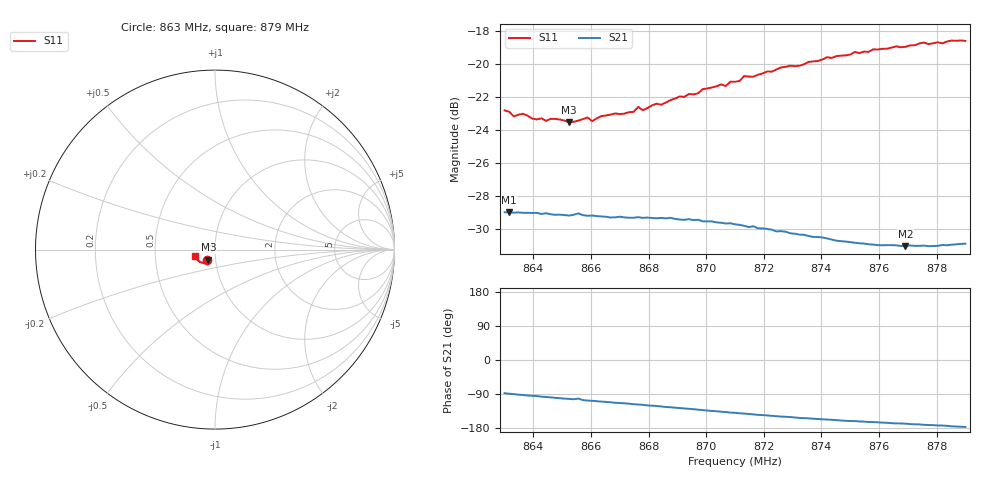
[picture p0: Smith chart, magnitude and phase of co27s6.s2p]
# HZ S RI R 50
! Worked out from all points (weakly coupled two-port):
!   101 points, 863 MHz to 879 MHz, reference 50 ohm
!   highest |S21| = -28.99 dB at 863.16 MHz (marker M1); lowest = -31.0 dB at 876.92 MHz (marker M2)
!   lowest |S11| = -23.5 dB at 865.24 MHz (marker M3), VSWR 1.14, Z = 46.2 - j5.14 ohm
!   |S11| at or under -10 dB: start of sweep to end of sweep
!   S12 and S22 are empty: the file has one direction only
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8.63e8  -0.0461 -0.0556  0.00144 -0.0355  0 0  0 0
8.6316e8  -0.0453 -0.0554  0.000589 -0.0355  0 0  0 0
8.6332e8  -0.0437 -0.0537  -5.2e-05 -0.0354  0 0  0 0
8.6364e8  -0.0435 -0.0556  -0.00144 -0.0354  0 0  0 0
8.6396e8  -0.0404 -0.055  -0.00273 -0.0353  0 0  0 0
8.6524e8  -0.0368 -0.0554  -0.00758 -0.0339  0 0  0 0
8.6572e8  -0.0357 -0.0579  -0.00949 -0.0335  0 0  0 0
8.6588e8  -0.0367 -0.0582  -0.0101 -0.0332  0 0  0 0
8.6604e8  -0.035 -0.0572  -0.0106 -0.0331  0 0  0 0
8.6636e8  -0.0354 -0.0597  -0.0117 -0.0325  0 0  0 0
8.6748e8  -0.0336 -0.0631  -0.0154 -0.0306  0 0  0 0
8.6764e8  -0.0364 -0.0644  -0.0158 -0.0305  0 0  0 0
8.678e8  -0.0349 -0.0634  -0.0162 -0.0301  0 0  0 0
8.6844e8  -0.0367 -0.0656  -0.0184 -0.0288  0 0  0 0
8.6988e8  -0.0424 -0.0722  -0.0224 -0.0248  0 0  0 0
8.71e8  -0.0486 -0.0735  -0.0248 -0.0213  0 0  0 0
8.7132e8  -0.0518 -0.0757  -0.0253 -0.0202  0 0  0 0
8.7164e8  -0.0521 -0.075  -0.026 -0.0191  0 0  0 0
8.7372e8  -0.0693 -0.0742  -0.0271 -0.0127  0 0  0 0
8.7644e8  -0.0936 -0.0614  -0.0275 -0.00652  0 0  0 0
8.7692e8  -0.0969 -0.0571  -0.0275 -0.00583  0 0  0 0
8.79e8  -0.1111 -0.0374  -0.0285 -0.00161  0 0  0 0
